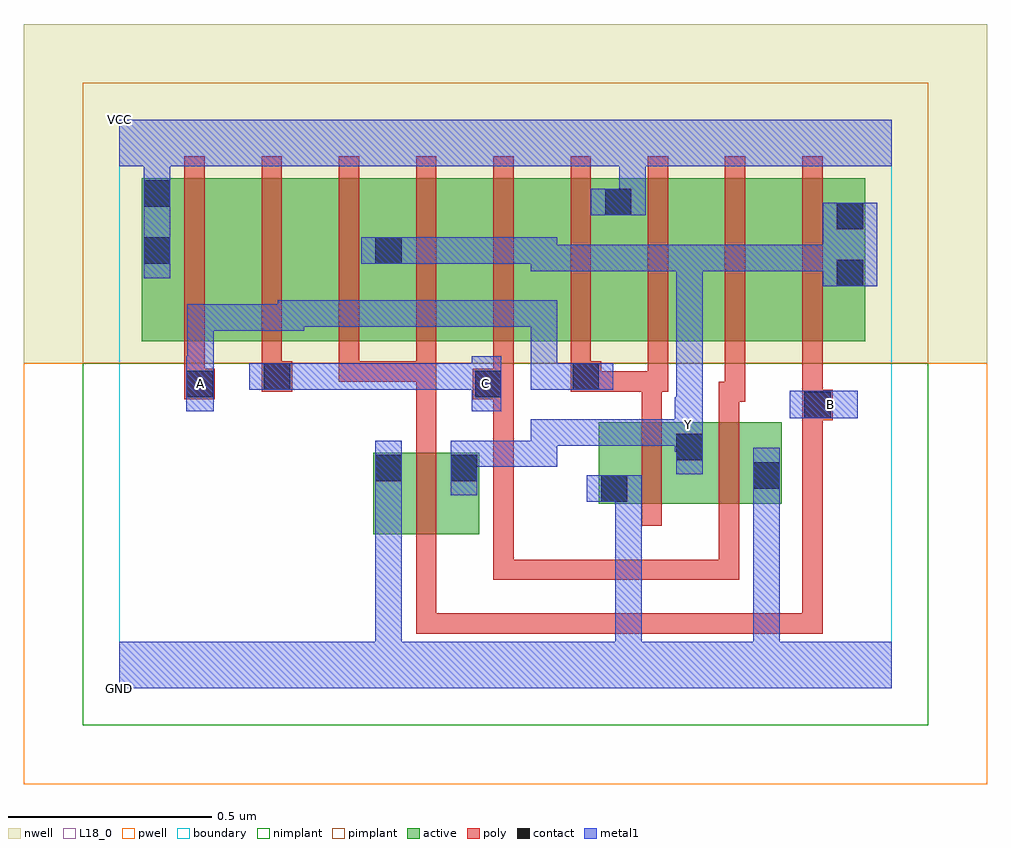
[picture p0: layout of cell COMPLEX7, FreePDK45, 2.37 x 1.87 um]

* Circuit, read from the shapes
.subckt COMPLEX7 A B C GND VCC Y
M1 Y B GND VSUBS nfet w=0.2u l=0.05u
M2 Y A GND VSUBS nfet w=0.2u l=0.05u
M3 GND C Y VSUBS nfet w=0.2u l=0.05u
M4 n1 A VCC n2 pfet w=0.4u l=0.05u
M5 n3 C n1 n2 pfet w=0.4u l=0.05u
M6 Y B n3 n2 pfet w=0.4u l=0.05u
M7 n4 B Y n2 pfet w=0.4u l=0.05u
M8 n5 C n4 n2 pfet w=0.4u l=0.05u
M9 VCC A n5 n2 pfet w=0.4u l=0.05u
M10 n6 A VCC n2 pfet w=0.4u l=0.05u
M11 n7 C n6 n2 pfet w=0.4u l=0.05u
M12 Y B n7 n2 pfet w=0.4u l=0.05u
.ends

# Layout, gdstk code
import gdstk
lib = gdstk.Library(unit=1e-6, precision=1e-09)
def R(c, l, rs):  # rectangles x0, y0, x1, y1
    for r in rs: c.add(gdstk.rectangle(r[:2], r[2:], *l))
def A(c, l, x, y, w, h, nx, ny, dx, dy):  # array of equal rectangles
    R(c, l, [(x+i*dx, y+j*dy, x+i*dx+w, y+j*dy+h) for i in range(nx) for j in range(ny)])
active = (1, 0)
pwell = (2, 0)
nwell = (3, 0)
nimplant = (4, 0)
pimplant = (5, 0)
poly = (9, 0)
contact = (10, 0)
metal1 = (11, 0)
L18_0 = (18, 0)
boundary = (235, 0)

complex7 = lib.new_cell('COMPLEX7')
A(complex7, active, 0.28, 0.855, 0.19, 0.4, 3, 1, 0.57, 0)
R(complex7, active, [(0.625,0.38,0.7,0.58), (0.625,0.38,0.885,0.58), (0.81,0.38,0.885,0.58), (1.18,0.455,1.255,0.655), (1.18,0.455,1.44,0.655), (1.365,0.455,1.44,0.655), (1.365,0.455,1.63,0.655), (1.555,0.455,1.63,0.655), (0.055,0.855,0.28,1.255), (0.055,0.855,0.13,1.255), (0.47,0.855,0.7,1.255), (0.625,0.855,0.85,1.255), (1.04,0.855,1.265,1.255), (1.19,0.855,1.42,1.255), (1.61,0.855,1.835,1.255), (1.76,0.855,1.835,1.2), (0.625,0.907,0.7,1.2), (1.19,0.907,1.265,1.255)])
R(complex7, pwell, [(-0.235,-0.235,2.135,0.8)])
R(complex7, nwell, [(-0.235,0.8,2.135,1.635)])
R(complex7, nimplant, [(-0.09,-0.09,1.99,0.8)])
R(complex7, pimplant, [(-0.09,0.8,1.99,1.49)])
A(complex7, poly, 0.35, 0.755, 0.05, 0.095, 3, 1, 0.19, 0)
A(complex7, poly, 0.16, 0.8, 0.05, 0.51, 9, 1, 0.19, 0)
R(complex7, poly, [(0.73,0.135,0.78,0.185), (0.73,0.135,0.78,0.185), (0.73,0.135,0.78,0.185), (0.73,0.135,0.78,0.185), (0.73,0.135,0.78,0.185), (0.73,0.135,0.97,0.185), (0.73,0.135,0.78,0.375), (0.92,0.135,0.97,0.185), (0.92,0.135,0.97,0.185), (0.92,0.135,0.97,0.185), (0.92,0.135,1.202,0.185), (1.152,0.135,1.202,0.185), (1.152,0.135,1.202,0.185), (1.152,0.135,1.202,0.185), (1.152,0.135,1.335,0.185), (1.285,0.135,1.335,0.185), (1.285,0.135,1.467,0.185), (1.417,0.135,1.467,0.185), (1.417,0.135,1.467,0.185), (1.417,0.135,1.467,0.185), (1.417,0.135,1.73,0.185), (1.68,0.135,1.73,0.185), (1.68,0.135,1.73,0.185), (1.68,0.135,1.73,0.185), (1.68,0.135,1.73,0.185), (1.68,0.135,1.73,0.185), (1.68,0.135,1.73,0.185), (1.68,0.135,1.73,0.185), (1.68,0.135,1.73,0.71), (0.92,0.267,0.97,0.317), (0.92,0.267,0.97,0.317), (0.92,0.267,0.97,0.317), (0.92,0.267,1.102,0.317), (0.92,0.267,0.97,0.68), (1.052,0.267,1.102,0.317), (1.052,0.267,1.102,0.317), (1.052,0.267,1.102,0.317), (1.052,0.267,1.102,0.317), (1.052,0.267,1.102,0.317), (1.052,0.267,1.335,0.317), (1.285,0.267,1.335,0.317), (1.285,0.267,1.525,0.317), (1.475,0.267,1.525,0.317), (1.475,0.267,1.525,0.317), (1.475,0.267,1.525,0.317), (1.475,0.267,1.525,0.45), (0.73,0.325,0.78,0.635), (1.285,0.4,1.335,0.71), (1.475,0.4,1.525,0.71), (0.73,0.585,0.78,0.805), (0.92,0.63,0.97,0.68), (0.92,0.63,0.97,0.762), (1.285,0.66,1.335,0.78), (1.475,0.66,1.525,0.755), (1.68,0.66,1.73,0.71), (1.68,0.66,1.73,0.71), (1.68,0.66,1.755,0.735), (1.68,0.685,1.73,0.85), (1.475,0.705,1.54,0.755), (1.49,0.705,1.54,0.85), (0.16,0.712,0.235,0.787), (0.87,0.712,0.97,0.787), (0.35,0.73,0.425,0.805), (1.11,0.73,1.185,0.805), (1.135,0.73,1.335,0.78), (1.285,0.73,1.335,0.78), (1.285,0.73,1.335,0.78), (1.285,0.73,1.35,0.78), (1.3,0.73,1.35,0.85), (0.16,0.737,0.21,0.85), (0.92,0.737,0.97,0.85), (0.54,0.755,0.59,0.805), (0.54,0.755,0.59,0.805), (0.54,0.755,0.59,0.805), (0.54,0.755,0.78,0.805), (0.73,0.755,0.78,0.805), (1.11,0.755,1.16,0.85)])
R(complex7, contact, [(1.185,0.46,1.25,0.525), (1.56,0.492,1.625,0.557), (0.63,0.51,0.695,0.575), (0.815,0.51,0.88,0.575), (1.37,0.562,1.435,0.627), (1.685,0.665,1.75,0.73), (0.165,0.717,0.23,0.782), (0.875,0.717,0.94,0.782), (0.355,0.735,0.42,0.8), (1.115,0.735,1.18,0.8), (1.765,0.99,1.83,1.055), (0.06,1.045,0.125,1.11), (0.63,1.045,0.695,1.11), (1.765,1.13,1.83,1.195), (1.195,1.165,1.26,1.23), (0.06,1.185,0.125,1.25)])
A(complex7, metal1, 0.665, 0.735, 0.065, 0.065, 1, 3, 0, 0.155)
R(complex7, metal1, [(0,0,1.9,0.115), (0.63,0.05,0.695,0.115), (0.63,0.05,0.695,0.115), (0.63,0.05,0.695,0.115), (0.63,0.05,0.695,0.115), (0.63,0.05,0.695,0.115), (0.63,0.05,0.695,0.115), (0.63,0.05,0.695,0.115), (0.63,0.05,0.695,0.115), (0.63,0.05,0.695,0.54), (1.22,0.05,1.285,0.115), (1.22,0.05,1.285,0.115), (1.22,0.05,1.285,0.115), (1.22,0.05,1.285,0.115), (1.22,0.05,1.285,0.115), (1.22,0.05,1.285,0.115), (1.22,0.05,1.285,0.525), (1.56,0.05,1.625,0.522), (1.56,0.457,1.625,0.522), (1.56,0.457,1.625,0.522), (1.56,0.457,1.625,0.522), (1.56,0.457,1.625,0.522), (1.56,0.457,1.625,0.522), (1.56,0.457,1.625,0.522), (1.56,0.457,1.625,0.522), (1.56,0.457,1.625,0.522), (1.56,0.457,1.625,0.592), (1.15,0.46,1.285,0.525), (1.22,0.46,1.285,0.525), (1.22,0.46,1.285,0.525), (0.63,0.475,0.695,0.61), (0.815,0.475,0.88,0.61), (1.37,0.527,1.435,0.662), (0.815,0.545,0.88,0.61), (0.815,0.545,0.88,0.61), (0.815,0.545,1.077,0.61), (1.012,0.545,1.077,0.662), (1.367,0.582,1.435,0.717), (1.012,0.597,1.077,0.662), (1.012,0.597,1.077,0.662), (1.012,0.597,1.215,0.662), (1.15,0.597,1.215,0.662), (1.15,0.597,1.435,0.662), (1.37,0.597,1.435,0.662), (1.37,0.597,1.435,0.662), (1.37,0.597,1.435,0.662), (1.37,0.652,1.435,1.092), (1.65,0.665,1.817,0.732), (0.165,0.682,0.232,0.817), (0.867,0.682,0.94,0.817), (0.32,0.735,0.455,0.8), (0.39,0.735,0.455,0.8), (0.39,0.735,0.455,0.8), (0.39,0.735,0.592,0.8), (0.527,0.735,0.592,0.8), (0.527,0.735,0.592,0.8), (0.527,0.735,0.592,0.8), (0.527,0.735,0.73,0.8), (0.665,0.735,0.932,0.8), (0.867,0.735,0.932,0.8), (0.867,0.735,0.932,0.8), (1.012,0.735,1.077,0.8), (1.012,0.735,1.145,0.8), (1.012,0.735,1.077,0.955), (1.08,0.735,1.215,0.8), (0.167,0.752,0.232,0.817), (0.167,0.752,0.232,0.817), (0.167,0.752,0.232,0.945), (0.167,0.88,0.232,0.945), (0.167,0.88,0.455,0.945), (0.39,0.88,0.455,0.955), (0.39,0.89,0.455,0.955), (0.39,0.89,0.455,0.955), (0.39,0.89,0.592,0.955), (0.527,0.89,0.592,0.955), (0.527,0.89,0.592,0.955), (0.527,0.89,0.592,0.955), (0.527,0.89,0.73,0.955), (0.665,0.89,0.867,0.955), (0.802,0.89,0.867,0.955), (0.802,0.89,0.867,0.955), (0.802,0.89,0.867,0.955), (0.802,0.89,1.077,0.955), (1.012,0.89,1.077,0.955), (1.73,0.99,1.865,1.195), (0.06,1.01,0.125,1.285), (1.012,1.027,1.177,1.092), (1.012,1.027,1.077,1.11), (1.112,1.027,1.177,1.092), (1.112,1.027,1.295,1.092), (1.23,1.027,1.295,1.092), (1.23,1.027,1.295,1.092), (1.23,1.027,1.295,1.092), (1.23,1.027,1.315,1.092), (1.25,1.027,1.315,1.092), (1.25,1.027,1.435,1.092), (1.37,1.027,1.435,1.092), (1.37,1.027,1.572,1.092), (1.507,1.027,1.572,1.092), (1.507,1.027,1.572,1.092), (1.507,1.027,1.572,1.092), (1.507,1.027,1.795,1.092), (1.73,1.027,1.795,1.092), (1.73,1.027,1.795,1.092), (0.595,1.045,0.73,1.11), (0.665,1.045,0.73,1.11), (0.665,1.045,0.867,1.11), (0.802,1.045,0.867,1.11), (0.802,1.045,0.867,1.11), (0.802,1.045,0.867,1.11), (0.802,1.045,1.077,1.11), (1.16,1.165,1.295,1.23), (1.23,1.165,1.295,1.35), (0.06,1.22,0.125,1.35), (0,1.285,1.9,1.4)])
A(complex7, L18_0, 0.665, 0.735, 0.065, 0.065, 1, 3, 0, 0.155)
R(complex7, L18_0, [(0,0,1.9,0.115), (0.63,0.05,0.695,0.115), (0.63,0.05,0.695,0.115), (0.63,0.05,0.695,0.115), (0.63,0.05,0.695,0.115), (0.63,0.05,0.695,0.115), (0.63,0.05,0.695,0.115), (0.63,0.05,0.695,0.115), (0.63,0.05,0.695,0.115), (0.63,0.05,0.695,0.54), (1.22,0.05,1.285,0.115), (1.22,0.05,1.285,0.115), (1.22,0.05,1.285,0.115), (1.22,0.05,1.285,0.115), (1.22,0.05,1.285,0.115), (1.22,0.05,1.285,0.115), (1.22,0.05,1.285,0.525), (1.56,0.05,1.625,0.522), (1.56,0.457,1.625,0.522), (1.56,0.457,1.625,0.522), (1.56,0.457,1.625,0.522), (1.56,0.457,1.625,0.522), (1.56,0.457,1.625,0.522), (1.56,0.457,1.625,0.522), (1.56,0.457,1.625,0.522), (1.56,0.457,1.625,0.522), (1.56,0.457,1.625,0.592), (1.15,0.46,1.285,0.525), (1.22,0.46,1.285,0.525), (1.22,0.46,1.285,0.525), (0.63,0.475,0.695,0.61), (0.815,0.475,0.88,0.61), (1.37,0.527,1.435,0.662), (0.815,0.545,0.88,0.61), (0.815,0.545,0.88,0.61), (0.815,0.545,1.077,0.61), (1.012,0.545,1.077,0.662), (1.367,0.582,1.435,0.717), (1.012,0.597,1.077,0.662), (1.012,0.597,1.077,0.662), (1.012,0.597,1.215,0.662), (1.15,0.597,1.215,0.662), (1.15,0.597,1.435,0.662), (1.37,0.597,1.435,0.662), (1.37,0.597,1.435,0.662), (1.37,0.597,1.435,0.662), (1.367,0.617,1.432,0.682), (1.37,0.652,1.435,1.092), (1.65,0.665,1.817,0.732), (1.717,0.667,1.782,0.732), (0.165,0.682,0.232,0.817), (0.867,0.682,0.94,0.817), (0.167,0.717,0.232,0.782), (0.867,0.717,0.932,0.782), (0.32,0.735,0.455,0.8), (0.39,0.735,0.455,0.8), (0.39,0.735,0.455,0.8), (0.39,0.735,0.592,0.8), (0.527,0.735,0.592,0.8), (0.527,0.735,0.592,0.8), (0.527,0.735,0.592,0.8), (0.527,0.735,0.73,0.8), (0.665,0.735,0.932,0.8), (0.867,0.735,0.932,0.8), (0.867,0.735,0.932,0.8), (1.012,0.735,1.077,0.8), (1.012,0.735,1.077,0.955), (1.012,0.735,1.145,0.8), (1.08,0.735,1.215,0.8), (0.167,0.752,0.232,0.817), (0.167,0.752,0.232,0.817), (0.167,0.752,0.232,0.945), (0.167,0.88,0.232,0.945), (0.167,0.88,0.455,0.945), (0.39,0.88,0.455,0.955), (0.39,0.89,0.455,0.955), (0.39,0.89,0.455,0.955), (0.39,0.89,0.592,0.955), (0.527,0.89,0.592,0.955), (0.527,0.89,0.592,0.955), (0.527,0.89,0.592,0.955), (0.527,0.89,0.73,0.955), (0.665,0.89,0.867,0.955), (0.802,0.89,0.867,0.955), (0.802,0.89,0.867,0.955), (0.802,0.89,0.867,0.955), (0.802,0.89,1.077,0.955), (1.012,0.89,1.077,0.955), (1.73,0.99,1.865,1.195), (0.06,1.01,0.125,1.285), (1.012,1.027,1.077,1.11), (1.012,1.027,1.177,1.092), (1.112,1.027,1.177,1.092), (1.112,1.027,1.295,1.092), (1.23,1.027,1.295,1.092), (1.23,1.027,1.295,1.092), (1.23,1.027,1.295,1.092), (1.23,1.027,1.315,1.092), (1.25,1.027,1.315,1.092), (1.25,1.027,1.435,1.092), (1.37,1.027,1.435,1.092), (1.37,1.027,1.572,1.092), (1.507,1.027,1.572,1.092), (1.507,1.027,1.572,1.092), (1.507,1.027,1.572,1.092), (1.507,1.027,1.795,1.092), (1.73,1.027,1.795,1.092), (1.73,1.027,1.795,1.092), (0.595,1.045,0.73,1.11), (0.665,1.045,0.73,1.11), (0.665,1.045,0.867,1.11), (0.802,1.045,0.867,1.11), (0.802,1.045,0.867,1.11), (0.802,1.045,0.867,1.11), (0.802,1.045,1.077,1.11), (1.16,1.165,1.295,1.23), (1.23,1.165,1.295,1.35), (0.06,1.22,0.125,1.35), (0,1.285,1.9,1.4)])
R(complex7, boundary, [(0,0,1.9,1.4)])
complex7.add(gdstk.Label('A', (0.2,0.75), layer=11, texttype=0))
complex7.add(gdstk.Label('B', (1.75,0.7), layer=11, texttype=0))
complex7.add(gdstk.Label('C', (0.9,0.75), layer=11, texttype=0))
complex7.add(gdstk.Label('Y', (1.4,0.65), layer=11, texttype=0))
complex7.add(gdstk.Label('VCC', (0,1.4), layer=11, texttype=0))
complex7.add(gdstk.Label('GND', (0,0), layer=11, texttype=0))

lib.write_gds('COMPLEX7.gds')
